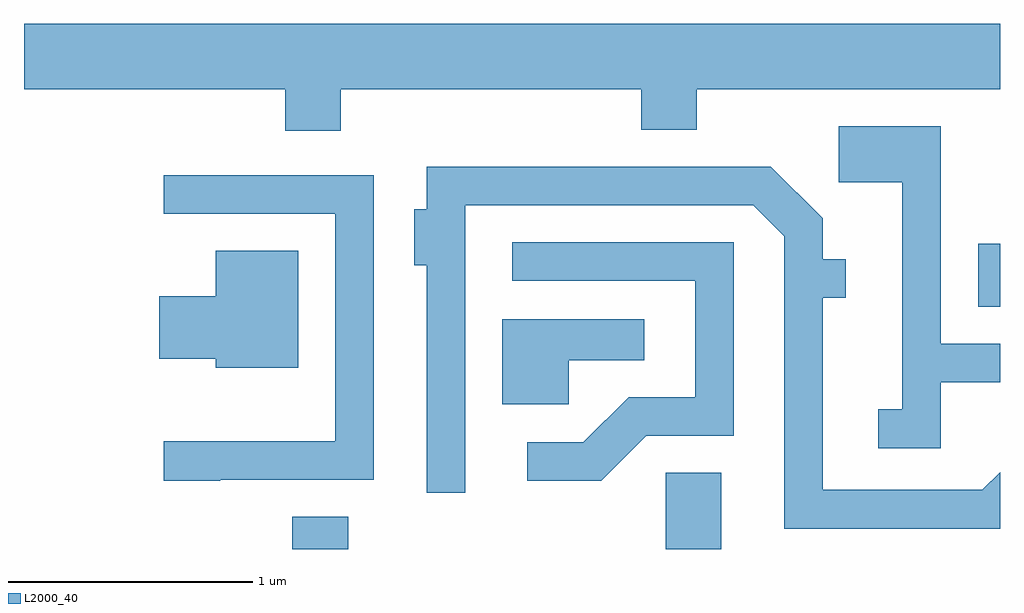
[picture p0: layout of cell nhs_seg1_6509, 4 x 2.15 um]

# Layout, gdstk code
import gdstk
lib = gdstk.Library(unit=1e-6, precision=1e-09)
def R(c, l, rs):  # rectangles x0, y0, x1, y1
    for r in rs: c.add(gdstk.rectangle(r[:2], r[2:], *l))
def P(c, l, *ps):  # polygons
    for p in ps: c.add(gdstk.Polygon(p, *l))
L2000_40 = (2000, 40)

nhs_seg1_6509 = lib.new_cell('nhs_seg1_6509')
R(nhs_seg1_6509, L2000_40, [(382.711,877.712,382.939,877.844), (384.241,877.712,384.469,878.024), (385.521,878.706,385.611,878.964)])
P(nhs_seg1_6509, L2000_40, [(382.909,879.596),(384.141,879.596),(384.141,879.431),(384.369,879.431),(384.369,879.596),(385.611,879.596),(385.611,879.864),(381.611,879.864),(381.611,879.596),(382.681,879.596),(382.681,879.426),(382.909,879.426)],
  [(385.369,878.396),(385.611,878.396),(385.611,878.554),(385.369,878.554),(385.369,879.444),(384.951,879.444),(384.951,879.216),(385.211,879.216),(385.211,878.284),(385.113,878.284),(385.113,878.126),(385.369,878.126)],
  [(385.611,878.026),(385.539,877.954),(384.884,877.954),(384.884,878.741),(384.979,878.741),(384.979,878.899),(384.884,878.899),(384.884,879.067),(384.672,879.279),(383.261,879.279),(383.261,879.104),(383.211,879.104),(383.211,878.876),(383.261,878.876),(383.261,877.943),(383.419,877.943),(383.419,879.121),(384.599,879.121),(384.726,878.994),(384.726,877.796),(385.611,877.796)],
  [(382.415,877.996),(383.044,877.996),(383.044,879.244),(382.183,879.244),(382.183,879.086),(382.886,879.086),(382.886,878.154),(382.183,878.154),(382.183,877.991),(382.415,877.991)],
  [(384.162,878.176),(384.519,878.176),(384.519,878.969),(383.613,878.969),(383.613,878.811),(384.361,878.811),(384.361,878.334),(384.089,878.334),(383.904,878.149),(383.673,878.149),(383.673,877.991),(383.977,877.991)],
  [(382.734,878.934),(382.396,878.934),(382.396,878.749),(382.166,878.749),(382.166,878.491),(382.396,878.491),(382.396,878.456),(382.734,878.456)],
  [(383.844,878.486),(384.153,878.486),(384.153,878.654),(383.571,878.654),(383.571,878.306),(383.844,878.306)])

lib.write_gds('nhs_seg1_6509.gds')
